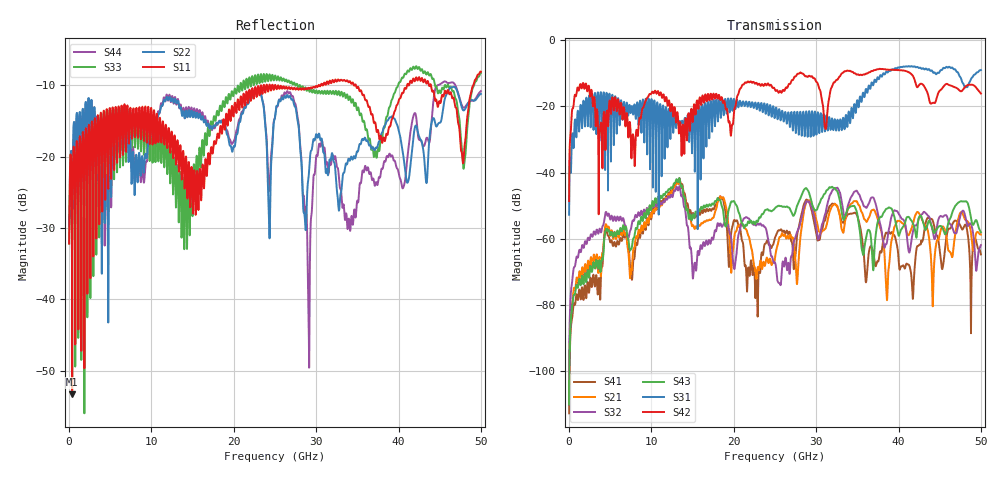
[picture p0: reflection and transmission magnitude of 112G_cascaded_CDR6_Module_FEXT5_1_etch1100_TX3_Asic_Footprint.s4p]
! Created Wed Feb 27 12:07:17 2019
# hz S ma R 50
! 4 Port Network Data from SP1.SP block
! freq  magS11  angS11  magS12  angS12  magS13  angS13  magS14  angS14
!  magS21  angS21  magS22  angS22  magS23  angS23  magS24  angS24
!  magS31  angS31  magS32  angS32  magS33  angS33  magS34  angS34
!  magS41  angS41  magS42  angS42  magS43  angS43  magS44  angS44
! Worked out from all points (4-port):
!   5000 points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, 10 MHz to 50 GHz, reference 50 ohm
!   strongest paths, dB at 10 MHz, 12.51 GHz, 25.01 GHz, 37.51 GHz, 50 GHz:
!     S42: -48.6, -19.6, -15.1, -8.8, -16.1
!     S31: -52.7, -21.8, -22.8, -11.3, -9.1
!     S43: -110.1, -44.7, -50.7, -54.6, -58.0
!     S32: -102.4, -47.3, -67.2, -52.6, -61.9
!     S21: -108.6, -46.0, -65.7, -54.3, -58.7
!     S41: -112.7, -45.6, -59.6, -66.9, -64.7
!   lowest |S11| = -53.3 dB at 380 MHz (marker M1), VSWR 1.00, Z = 50.1 - j0.195 ohm
!   |S11| at or under -10 dB: start of sweep to 23.63 GHz; 25.05 GHz to 30.29 GHz (5.242 GHz wide, 18.9 % of centre); 34.82 GHz to 41.05 GHz (6.231 GHz wide, 16.4 % of centre)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
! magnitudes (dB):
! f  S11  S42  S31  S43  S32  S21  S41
! 10 MHz  -32.2  -48.6  -52.7  -110.1  -102.4  -108.6  -112.7
! 380 MHz  -53.3  -21.0  -28.5  -81.0  -72.9  -79.7  -83.9
! 13.24 GHz  -18.9  -23.8  -24.3  -42.9  -45.4  -43.5  -43.1
! 15.2 GHz  -21.9  -19.4  -25.1  -53.7  -67.8  -56.8  -53.7
! 22.76 GHz  -11.6  -12.9  -20.6  -54.5  -55.9  -72.0  -71.6
! 29.12 GHz  -10.4  -10.8  -21.7  -46.0  -48.7  -48.4  -48.8
! 50 GHz  -8.1  -16.1  -9.1  -58.0  -61.9  -58.7  -64.7
